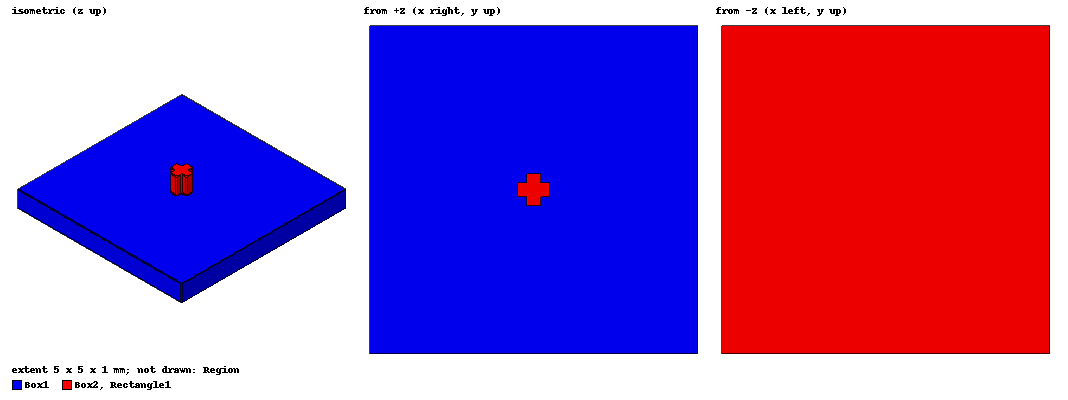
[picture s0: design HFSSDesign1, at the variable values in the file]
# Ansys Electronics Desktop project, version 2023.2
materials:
  vacuum: permittivity=1
  Rogers RT/duroid 5880 (tm): permittivity=2.2 dielectric_loss_tangent=0.0009
  pec: conductivity=1e+30

design HFSSDesign1 (HFSS, HFSS Modal Network, model units mm)
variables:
  margin = 1mm
  parameters = [0.2, 0.5, 0.5, 0.5, 5] mm
  H = parameters[3]
  Xsize = parameters[4]
  Ysize = parameters[4]
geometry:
  Rectangle1 = rectangle(corner=(0mm, 0mm, 0mm), x_size=Xsize, y_size=Ysize)
  Box1 [Rogers RT/duroid 5880 (tm)] = box(corner=(0mm, 0mm, 0mm), size=(Xsize, Ysize, H))
  Region [vacuum] = region(absolute_offset: +X=0mm, -X=0mm, +Y=0mm, -Y=0mm, +Z=10mm, -Z=10mm)
  Box2 [pec] = box(corner=(Xsize/2 - parameters[1] /2, Ysize/2 - parameters[0]/2, parameters[3]), size=(parameters[1], parameters[0], parameters[2]))
  Box3 = box(corner=(XSize/2 -parameters[0]/2, YSize/2-parameters[1]/2, parameters[3]), size=(parameters[0], parameters[1], parameters[2]))
  Box2.unite(Box3)
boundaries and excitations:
  PerfE1: Perfect E Objects=Rectangle1
  Primary1: Primary Faces=Region.face(+x) CoordSysVector{(5, 0, 11) -> (5, 5, 11)}
  Primary2: Primary Faces=Region.face(+y) CoordSysVector{(5, 5, 11) -> (0, 5, 11)}
  Secondary1: Secondary Faces=Region.face(-y) CoordSysVector{(5, 0, 11) -> (0, 0, 11)} ReverseV primary=Primary2 PhaseDelay=UseScanAngle Phi=0deg Theta=0deg
  Secondary2: Secondary Faces=Region.face(-x) CoordSysVector{(0, 0, 11) -> (0, 5, 11)} ReverseV primary=Primary1 PhaseDelay=UseScanAngle Phi=0deg Theta=0deg
  FloquetPort1: Floquet Port Faces=Region.face(+z) NumModes=2 DeembedDist=10mm Modes{Mode1{CharImp=Zpi} Mode2{CharImp=Zpi}} PhaseDelay=UseScanAngle Phi=0deg Theta=0deg LatticeAVector{(5, 0, 11) -> (5, 5, 11)} LatticeBVector{(5, 0, 11) -> (0, 0, 11)} ModesList{Mode{ModeNumber=1 IndexM=0 IndexN=0 KC2=0 PropagationState=Propagating Attenuation=0 PolarizationState=TE AffectsRefinement} Mode{ModeNumber=2 IndexM=0 IndexN=0 KC2=0 PropagationState=Propagating Attenuation=0 PolarizationState=TM AffectsRefinement}}
  FloquetPort2: Floquet Port Faces=Region.face(-z) NumModes=2 DeembedDist=10mm Modes{Mode1{CharImp=Zpi} Mode2{CharImp=Zpi}} PhaseDelay=UseScanAngle Phi=0deg Theta=0deg LatticeAVector{(5, 0, -10) -> (5, 5, -10)} LatticeBVector{(5, 0, -10) -> (0, 0, -10)} ModesList{Mode{ModeNumber=1 IndexM=0 IndexN=0 KC2=0 PropagationState=Propagating Attenuation=0 PolarizationState=TE AffectsRefinement} Mode{ModeNumber=2 IndexM=0 IndexN=0 KC2=0 PropagationState=Propagating Attenuation=0 PolarizationState=TM AffectsRefinement}}
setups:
  Setup1: HfssDriven Frequency=60GHz MaxDeltaS=0.02 MaximumPasses=5 MinimumPasses=1 MinimumConvergedPasses=3 PercentRefinement=30 BasisOrder=1 PortAccuracy=2 DrivenSolverType="Direct Solver"
    sweep Sweep: 30GHz to 90GHz step 0.1GHz; Type=Interpolating InterpTolerance=0.5 InterpMaxSolns=250 InterpUsePortImped=false PassivityErrorTolerance=0.0001
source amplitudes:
  FloquetPort1:1: 1W 0deg
  FloquetPort1:2, FloquetPort2:1, FloquetPort2:2: 0W 0deg
